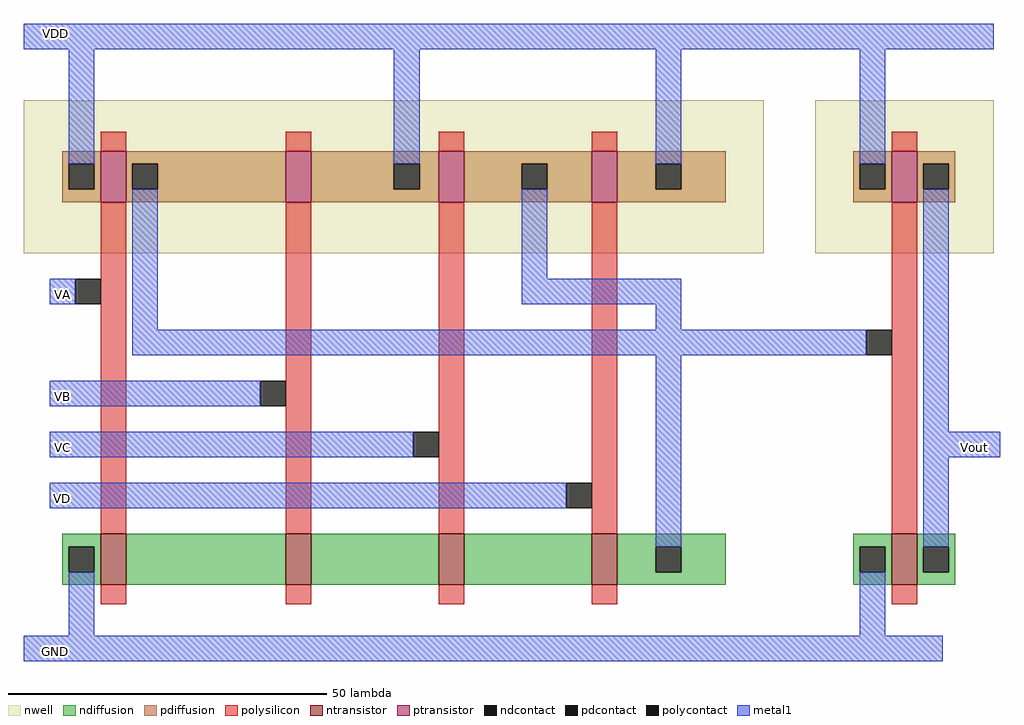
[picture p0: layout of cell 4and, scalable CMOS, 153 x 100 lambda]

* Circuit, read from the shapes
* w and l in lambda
.subckt 4and GND VA VB VC VD VDD Vout
M1 n1 VA GND VSUBS nfet w=8 l=4
M2 n2 VB n1 VSUBS nfet w=8 l=4
M3 n3 VC n2 VSUBS nfet w=8 l=4
M4 n4 VD n3 VSUBS nfet w=8 l=4
M5 Vout n4 GND VSUBS nfet w=8 l=4
M6 n4 VA VDD n5 pfet w=8 l=4
M7 VDD VB n4 n5 pfet w=8 l=4
M8 n4 VC VDD n5 pfet w=8 l=4
M9 VDD VD n4 n5 pfet w=8 l=4
M10 Vout n4 VDD n6 pfet w=8 l=4
.ends

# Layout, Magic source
magic
tech scmos
<< nwell >>
rect -2 0 114 24
rect 122 0 150 24
<< ntransistor >>
rect 10 -52 14 -44
rect 39 -52 43 -44
rect 63 -52 67 -44
rect 87 -52 91 -44
rect 134 -52 138 -44
<< ptransistor >>
rect 10 8 14 16
rect 39 8 43 16
rect 63 8 67 16
rect 87 8 91 16
rect 134 8 138 16
<< ndiffusion >>
rect 4 -46 10 -44
rect 4 -50 5 -46
rect 9 -50 10 -46
rect 4 -52 10 -50
rect 14 -52 39 -44
rect 43 -52 63 -44
rect 67 -52 87 -44
rect 91 -46 108 -44
rect 91 -50 97 -46
rect 101 -50 108 -46
rect 91 -52 108 -50
rect 128 -46 134 -44
rect 128 -50 129 -46
rect 133 -50 134 -46
rect 128 -52 134 -50
rect 138 -46 144 -44
rect 138 -50 139 -46
rect 143 -50 144 -46
rect 138 -52 144 -50
<< pdiffusion >>
rect 4 14 10 16
rect 4 10 5 14
rect 9 10 10 14
rect 4 8 10 10
rect 14 14 39 16
rect 14 10 15 14
rect 19 10 39 14
rect 14 8 39 10
rect 43 14 63 16
rect 43 10 56 14
rect 60 10 63 14
rect 43 8 63 10
rect 67 14 87 16
rect 67 10 76 14
rect 80 10 87 14
rect 67 8 87 10
rect 91 14 108 16
rect 91 10 97 14
rect 101 10 108 14
rect 91 8 108 10
rect 128 14 134 16
rect 128 10 129 14
rect 133 10 134 14
rect 128 8 134 10
rect 138 14 144 16
rect 138 10 139 14
rect 143 10 144 14
rect 138 8 144 10
<< ndcontact >>
rect 5 -50 9 -46
rect 97 -50 101 -46
rect 129 -50 133 -46
rect 139 -50 143 -46
<< pdcontact >>
rect 5 10 9 14
rect 15 10 19 14
rect 56 10 60 14
rect 76 10 80 14
rect 97 10 101 14
rect 129 10 133 14
rect 139 10 143 14
<< polysilicon >>
rect 10 16 14 19
rect 39 16 43 19
rect 63 16 67 19
rect 87 16 91 19
rect 134 16 138 19
rect 10 -44 14 8
rect 39 -44 43 8
rect 63 -44 67 8
rect 87 -44 91 8
rect 134 -44 138 8
rect 10 -55 14 -52
rect 39 -55 43 -52
rect 63 -55 67 -52
rect 87 -55 91 -52
rect 134 -55 138 -52
<< polycontact >>
rect 6 -8 10 -4
rect 35 -24 39 -20
rect 59 -32 63 -28
rect 83 -40 87 -36
rect 130 -16 134 -12
<< metal1 >>
rect -2 32 150 36
rect 5 14 9 32
rect 56 14 60 32
rect 97 14 101 32
rect 129 14 133 32
rect 2 -8 6 -4
rect 15 -12 19 10
rect 76 -4 80 10
rect 76 -8 101 -4
rect 97 -12 101 -8
rect 15 -16 130 -12
rect 2 -24 35 -20
rect 2 -32 59 -28
rect 2 -40 83 -36
rect 97 -46 101 -16
rect 139 -28 143 10
rect 139 -32 151 -28
rect 139 -46 143 -32
rect 5 -60 9 -50
rect 129 -60 133 -50
rect -2 -64 142 -60
<< labels >>
rlabel metal1 2 34 4 35 4 VDD
rlabel metal1 3 -7 5 -6 1 VA
rlabel metal1 3 -23 5 -22 1 VB
rlabel metal1 3 -31 5 -30 1 VC
rlabel metal1 3 -39 5 -38 1 VD
rlabel metal1 2 -63 4 -62 2 GND
rlabel metal1 146 -31 148 -30 7 Vout
<< end >>
